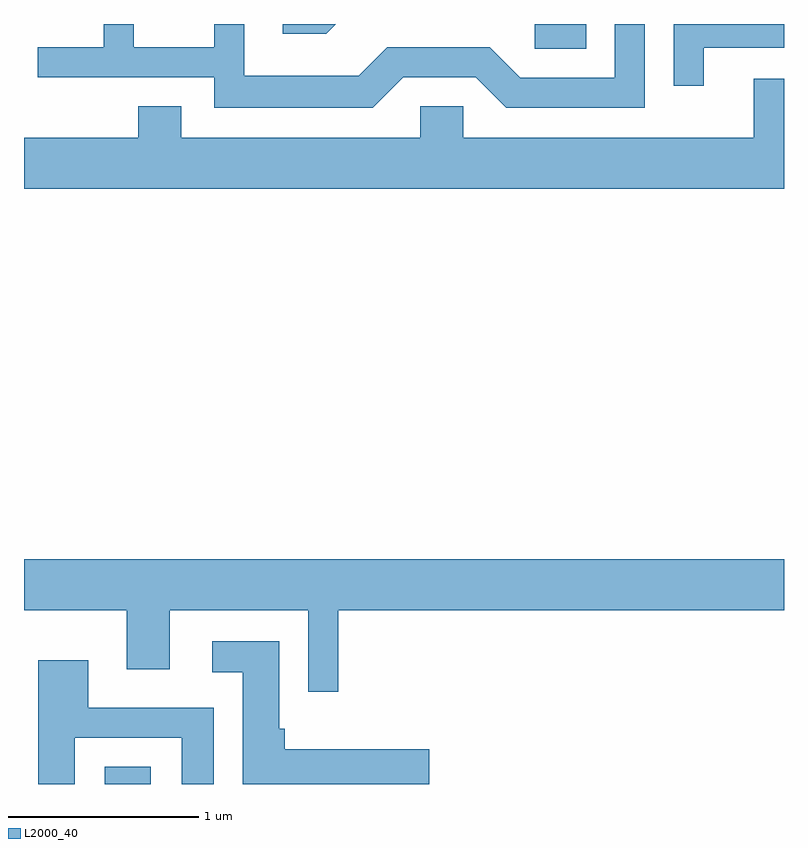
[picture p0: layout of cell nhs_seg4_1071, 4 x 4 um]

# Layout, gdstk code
import gdstk
lib = gdstk.Library(unit=1e-6, precision=1e-09)
def R(c, l, rs):  # rectangles x0, y0, x1, y1
    for r in rs: c.add(gdstk.rectangle(r[:2], r[2:], *l))
def P(c, l, *ps):  # polygons
    for p in ps: c.add(gdstk.Polygon(p, *l))
L2000_40 = (2000, 40)

nhs_seg4_1071 = lib.new_cell('nhs_seg4_1071')
R(nhs_seg4_1071, L2000_40, [(216.036,1355.982,216.279,1356.074), (218.298,1359.851,218.569,1359.982)])
P(nhs_seg4_1071, L2000_40, [(219.189,1359.856),(219.611,1359.856),(219.611,1359.982),(219.031,1359.982),(219.031,1359.658),(219.189,1359.658)],
  [(217.253,1359.982),(216.973,1359.982),(216.973,1359.931),(217.202,1359.931)],
  [(217.607,1359.701),(217.989,1359.701),(218.149,1359.541),(218.879,1359.541),(218.879,1359.982),(218.721,1359.982),(218.721,1359.699),(218.222,1359.699),(218.062,1359.859),(217.524,1359.859),(217.374,1359.709),(216.769,1359.709),(216.769,1359.982),(216.611,1359.982),(216.611,1359.859),(216.189,1359.859),(216.189,1359.982),(216.031,1359.982),(216.031,1359.859),(215.683,1359.859),(215.683,1359.701),(216.611,1359.701),(216.611,1359.541),(217.447,1359.541)],
  [(219.611,1359.694),(219.451,1359.694),(219.451,1359.384),(217.924,1359.384),(217.924,1359.549),(217.696,1359.549),(217.696,1359.384),(216.439,1359.384),(216.439,1359.549),(216.211,1359.549),(216.211,1359.384),(215.611,1359.384),(215.611,1359.116),(219.611,1359.116)],
  [(217.264,1356.896),(219.611,1356.896),(219.611,1357.164),(215.611,1357.164),(215.611,1356.896),(216.151,1356.896),(216.151,1356.586),(216.379,1356.586),(216.379,1356.896),(217.106,1356.896),(217.106,1356.468),(217.264,1356.468)],
  [(217.744,1356.164),(216.984,1356.164),(216.984,1356.274),(216.954,1356.274),(216.954,1356.734),(216.603,1356.734),(216.603,1356.571),(216.761,1356.571),(216.761,1355.982),(217.744,1355.982)],
  [(215.879,1356.226),(216.441,1356.226),(216.441,1355.982),(216.609,1355.982),(216.609,1356.384),(215.949,1356.384),(215.949,1356.634),(215.686,1356.634),(215.686,1355.982),(215.879,1355.982)])

lib.write_gds('nhs_seg4_1071.gds')
